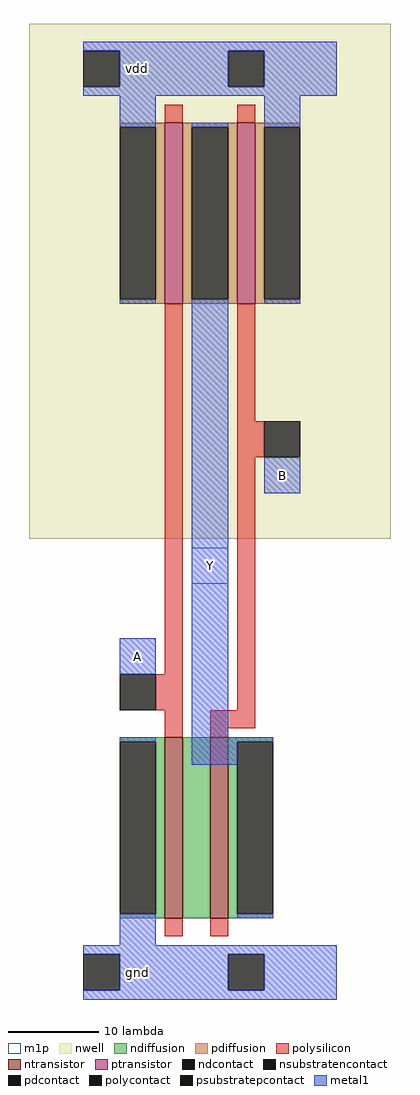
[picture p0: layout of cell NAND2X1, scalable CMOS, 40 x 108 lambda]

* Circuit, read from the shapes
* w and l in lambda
.subckt NAND2X1 A B Y vdd gnd
M1 n1 A gnd gnd nfet w=20 l=2
M2 Y B n1 gnd nfet w=20 l=2
M3 Y A vdd vdd pfet w=20 l=2
M4 vdd B Y vdd pfet w=20 l=2
.ends

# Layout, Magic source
magic
tech scmos
magscale 1 2
<< nwell >>
rect -16 96 64 210
<< ntransistor >>
rect 14 12 18 52
rect 24 12 28 52
<< ptransistor >>
rect 14 148 18 188
rect 30 148 34 188
<< ndiffusion >>
rect 4 51 14 52
rect 12 13 14 51
rect 4 12 14 13
rect 18 12 24 52
rect 28 51 38 52
rect 28 13 30 51
rect 28 12 38 13
<< pdiffusion >>
rect 4 187 14 188
rect 12 149 14 187
rect 4 148 14 149
rect 18 187 30 188
rect 18 149 20 187
rect 28 149 30 187
rect 18 148 30 149
rect 34 187 44 188
rect 34 149 36 187
rect 34 148 44 149
<< ndcontact >>
rect 4 13 12 51
rect 30 13 38 51
<< pdcontact >>
rect 4 149 12 187
rect 20 149 28 187
rect 36 149 44 187
<< psubstratepcontact >>
rect -4 -4 4 4
rect 28 -4 36 4
<< nsubstratencontact >>
rect -4 196 4 204
rect 28 196 36 204
<< polysilicon >>
rect 14 188 18 192
rect 30 188 34 192
rect 14 66 18 148
rect 12 58 18 66
rect 30 122 34 148
rect 30 114 36 122
rect 30 58 34 114
rect 14 52 18 58
rect 24 54 34 58
rect 24 52 28 54
rect 14 8 18 12
rect 24 8 28 12
<< polycontact >>
rect 4 58 12 66
rect 36 114 44 122
<< metal1 >>
rect -4 204 52 206
rect 4 196 28 204
rect 36 196 52 204
rect -4 194 52 196
rect 4 187 12 194
rect 4 148 12 149
rect 20 187 28 188
rect 4 66 12 74
rect 20 52 28 149
rect 36 187 44 194
rect 36 148 44 149
rect 36 106 44 114
rect 4 51 12 52
rect 20 51 38 52
rect 20 46 30 51
rect 4 6 12 13
rect 30 12 38 13
rect -4 4 52 6
rect 4 -4 28 4
rect 36 -4 52 4
rect -4 -6 52 -4
<< m1p >>
rect 36 106 44 114
rect 20 86 28 94
rect 4 66 12 74
<< labels >>
rlabel metal1 8 200 8 200 4 vdd
port 4 se
rlabel metal1 24 90 24 90 4 Y
port 3 se
rlabel metal1 8 0 8 0 4 gnd
port 5 se
rlabel metal1 8 70 8 70 4 A
port 1 se
rlabel metal1 40 110 40 110 4 B
port 2 se
<< end >>
